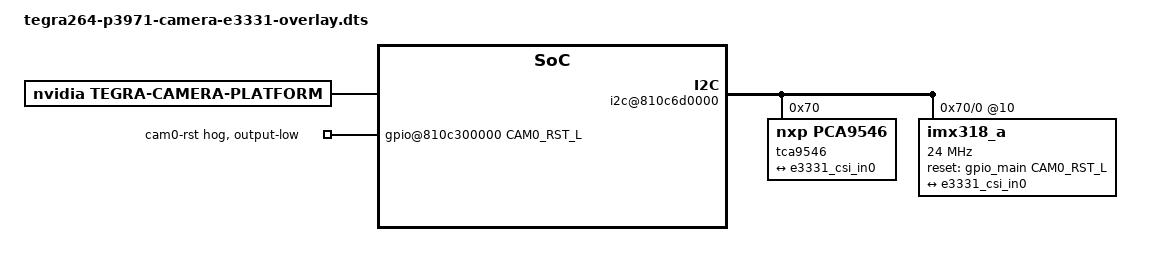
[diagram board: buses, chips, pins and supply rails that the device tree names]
// SPDX-License-Identifier: GPL-2.0-only
// SPDX-FileCopyrightText: Copyright (c) 2025, NVIDIA CORPORATION & AFFILIATES. All rights reserved.

/dts-v1/;
/plugin/;

#include <dt-bindings/clock/tegra264-clk.h>
#include <dt-bindings/gpio/tegra264-gpio.h>

/* camera control gpio definitions */
#define CAM0_RST_L	TEGRA264_MAIN_GPIO(V, 2)
#define CAM0_PWDN	TEGRA264_MAIN_GPIO(AL, 1)

#define JETSON_COMPATIBLE	"nvidia,p3971-0089+p3834-0008", "nvidia,p3971-0050+p3834-0005", "nvidia,p3971-0080+p3834-0008"

/ {
	overlay-name = "Jetson Camera E3331 module";
	jetson-header-name = "Jetson AGX CSI Connector";
	compatible = JETSON_COMPATIBLE;

	fragment@0 {
		target-path = "/";

		board_config {
			ids = "3331-*";
			sw-modules = "kernel";
		};

		__overlay__ {
			tegra-capture-vi {
				num-channels = <1>;
				ports {
					status = "okay";
					port@0 {
						status = "okay";
						endpoint {
							status = "okay";
							port-index = <0>;
							bus-width = <3>;
							remote-endpoint = <&e3331_csi_out0>;
						};
					};
				};
			};
			tegra-camera-platform {
				status = "okay";
				compatible = "nvidia, tegra-camera-platform";
				modules {
					status = "okay";
					module0 {
						status = "okay";
						badge = "e3331_rear_22N02A";
						position = "rear";
						orientation = "1";
						drivernode0 {
							status = "okay";
							pcl_id = "v4l2_sensor";
							sysfs-device-tree = "/sys/firmware/devicetree/base/bus@0/i2c@810c6d0000/tca9546@70/i2c@0/imx318_a@10";
						};
					};
				};
			};
			bus@0 {
				gpio@810c300000 {
					camera-control-output-low {
						gpio-hog;
						output-low;
						gpios = <CAM0_RST_L 0>;
						label = "cam0-rst";
					};
				};
				host1x@8181200000 {
					nvcsi@8188000000 {
						num-channels = <1>;
						channel@0 {
							status = "okay";
							ports {
								status = "okay";
								port@0 {
									status = "okay";
									endpoint@0 {
										status = "okay";
										port-index = <0>;
										bus-width = <3>;
										remote-endpoint = <&e3331_imx318_out0>;
									};
								};
								port@1 {
									status = "okay";
									endpoint@1 {
										status = "okay";
										remote-endpoint = <&e3331_vi_in0>;
									};
								};
							};
						};
					};
				};
				i2c@810c6d0000 {
					tca9546@70 {
						compatible = "nxp,pca9546";
						reg = <0x70>;
						#address-cells = <1>;
						#size-cells = <0>;
						skip_mux_detect;
						status = "okay";
						i2c@0 {
							reg = <0>;
							i2c-mux,deselect-on-exit;
							#address-cells = <1>;
							#size-cells = <0>;
							status = "okay";
							imx318_a@10 {
								status = "okay";
								clocks = <&bpmp TEGRA264_CLK_EXTPERIPH1>,
									 <&bpmp TEGRA264_CLK_PLLP_OUT0>;
								clock-names = "extperiph1", "pllp_grtba";
								mclk = "extperiph1";
								clock-frequency = <24000000>;
								reset-gpios = <&gpio_main CAM0_RST_L GPIO_ACTIVE_HIGH>;
								ports {
									#address-cells = <1>;
									#size-cells = <0>;
									status = "okay";
									port@0 {
										status = "okay";
										reg = <0>;
										endpoint {
											status = "okay";
											port-index = <0>;
											bus-width = <3>;
											remote-endpoint = <&e3331_csi_in0>;
										};
									};
								};
							};
						};
					};
				};
			};
		};
	};
};
